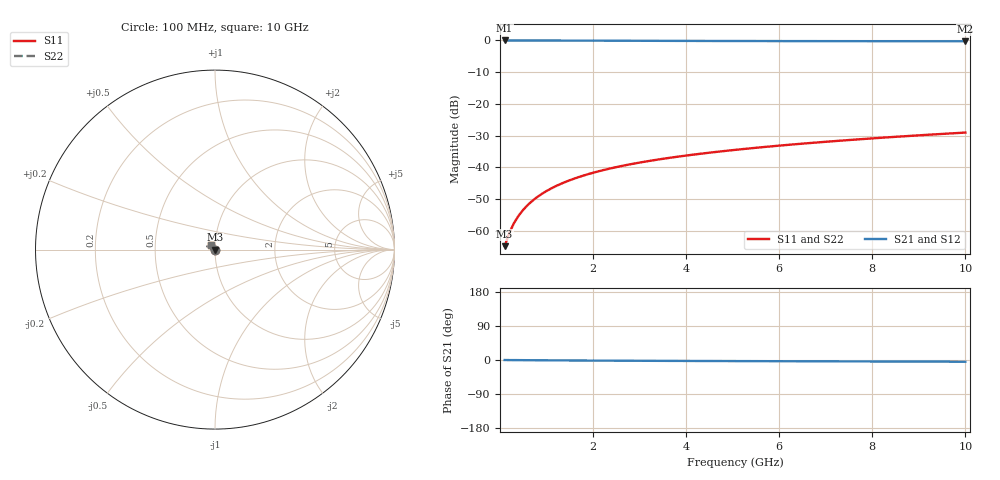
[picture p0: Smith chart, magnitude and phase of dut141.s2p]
! Touchstone file exported from HFSS 2024.1.0
!  File:  C:/UserFiles/LocalFiles/RDL_TSV_Batchsim/temp_TSV1_141_1779380395.aedt
!  Generated:  12:26:19 AM May 22, 2026
!  Design:  TSV1
!  Project:  temp_TSV1_141_1779380395
!  Setup:  Setup1
!  Solution:  Sweep
! Variables:
!  dtsv = 5.52um
!  hbump = 3um
!  htsv = 62.24um
!  lrdl = 252.1521522um
!  p = 40
!  p1 = 55.46um
!  t = 500um
!  trdl = 3um
!  wrdl = 24.89489489um
# GHz S MA R 50.000000
! Terminal data exported
! Port[1] = TSV22_T1
! Port[2] = TSV22_T2
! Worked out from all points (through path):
!   100 points, 100 MHz to 10 GHz, reference 50 ohm
!   highest |S21| = 0.00 dB at 100 MHz (marker M1); lowest = -0.3 dB at 10 GHz (marker M2)
!   lowest |S11| = -64.8 dB at 100 MHz (marker M3), VSWR 1.00, Z = 50 - j0.0437 ohm
!   |S11| at or under -10 dB: start of sweep to end of sweep
!   |S22| runs from -64.8 to -29.0 dB; largest |S21 - S12| = 7.1e-15
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0.1  0.0005732 -49.7  0.9996 -0.1  0.9996 -0.1  0.0005732 -49.7
! Gamma 0 0 0 0
! Port Impedance 50 0 50 0
0.2  0.000924 -70.9  0.9995 -0.2  0.9995 -0.2  0.000924 -70.9
0.3  0.001319 -81.6  0.9994 -0.3  0.9994 -0.3  0.001319 -81.6
0.4  0.001729 -88.6  0.9992 -0.3  0.9992 -0.3  0.001729 -88.6
0.5  0.002146 -93.9  0.999 -0.4  0.999 -0.4  0.002146 -93.9
0.6  0.002566 -98.4  0.9988 -0.5  0.9988 -0.5  0.002566 -98.4
0.7  0.002986 -102.3  0.9985 -0.6  0.9985 -0.6  0.002986 -102.3
0.8  0.003405 -105.8  0.9982 -0.7  0.9982 -0.7  0.003405 -105.8
0.9  0.003822 -109.2  0.9979 -0.8  0.9979 -0.8  0.003822 -109.2
1  0.004237 -112.3  0.9975 -0.8  0.9975 -0.8  0.004237 -112.3
1.2  0.00506 -118.3  0.9967 -1.0  0.9967 -1.0  0.00506 -118.3
1.5  0.00627 -126.5  0.9954 -1.2  0.9954 -1.2  0.00627 -126.5
1.8  0.00745 -134.2  0.9939 -1.4  0.9939 -1.4  0.00745 -134.2
2.1  0.008601 -141.3  0.9923 -1.6  0.9923 -1.6  0.008601 -141.3
2.5  0.01009 -150.1  0.9902 -1.8  0.9902 -1.8  0.01009 -150.1
2.9  0.01154 -158.1  0.9882 -2.0  0.9882 -2.0  0.01154 -158.1
3.4  0.01329 -167.2  0.9858 -2.2  0.9858 -2.2  0.01329 -167.2
4.2  0.01602 -179.6  0.9824 -2.6  0.9824 -2.6  0.01602 -179.6
5.1  0.01902 168.9  0.9794 -2.9  0.9794 -2.9  0.01902 168.9
6.7  0.02431 153.4  0.9755 -3.4  0.9755 -3.4  0.02431 153.4
8.4  0.02995 141.7  0.9727 -4.0  0.9727 -4.0  0.02995 141.7
10  0.03534 133.5  0.9708 -4.6  0.9708 -4.6  0.03534 133.5
